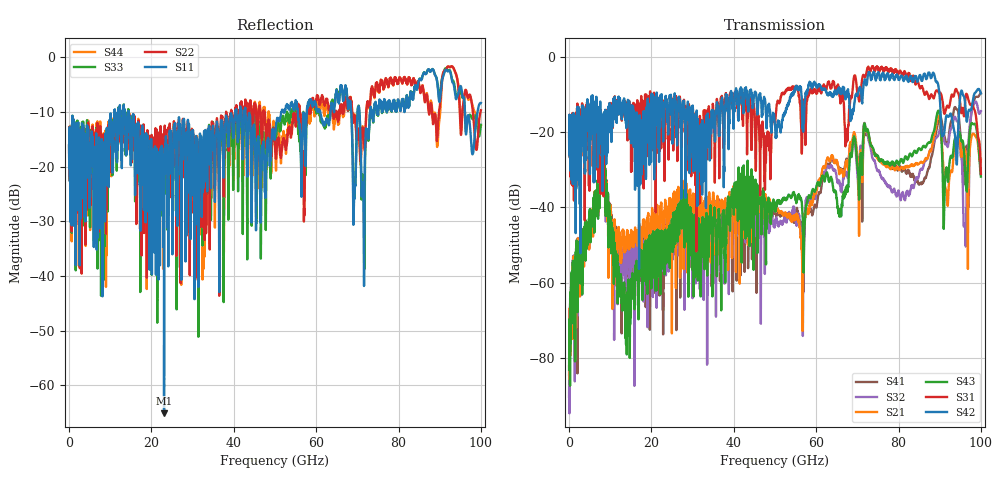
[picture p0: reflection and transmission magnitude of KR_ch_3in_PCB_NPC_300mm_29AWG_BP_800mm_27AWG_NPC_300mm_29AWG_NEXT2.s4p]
# GHz S RI R 45
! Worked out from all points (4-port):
!   4000 points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, 25 MHz to 100 GHz, reference 45 ohm
!   strongest paths, dB at 25 MHz, 25.02 GHz, 50.02 GHz, 75.03 GHz, 100 GHz:
!     S42: -20.6, -18.0, -18.0, -4.3, -9.8
!     S31: -20.6, -13.3, -17.5, -2.9, -31.1
!     S43: -83.1, -45.0, -41.1, -26.4, -31.8
!     S21: -82.3, -46.5, -40.8, -27.2, -27.3
!     S32: -84.5, -44.2, -44.1, -30.5, -14.5
!     S41: -90.4, -50.5, -41.1, -27.1, -9.6
!   lowest |S11| = -65.1 dB at 23.07 GHz (marker M1), VSWR 1.00, Z = 45 + j0.016 ohm
!   |S11| at or under -10 dB: start of sweep to 11.04 GHz; 14.46 GHz to 40.34 GHz (25.88 GHz wide, 94.5 % of centre); 42.82 GHz to 51.62 GHz (8.801 GHz wide, 18.6 % of centre) (the widest 3 of 38)
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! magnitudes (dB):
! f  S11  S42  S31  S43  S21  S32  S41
! 25 MHz  -16.1  -20.6  -20.6  -83.1  -82.3  -84.5  -90.4
! 8.025 GHz  -17.4  -26.6  -24.1  -24.4  -25.5  -25.3  -24.9
! 13.62 GHz  -12.3  -14.6  -13.8  -67.6  -49.9  -55.1  -55.9
! 23.07 GHz  -65.1  -18.4  -18.7  -47.5  -41.3  -47.4  -45.3
! 93.8 GHz  -7.1  -21.7  -8.8  -21.5  -22.9  -16.1  -13.4
! 96.1 GHz  -9.6  -11.7  -13.2  -28.5  -24.6  -44.6  -27.3
! 100 GHz  -8.4  -9.8  -31.1  -31.8  -27.3  -14.5  -9.6
